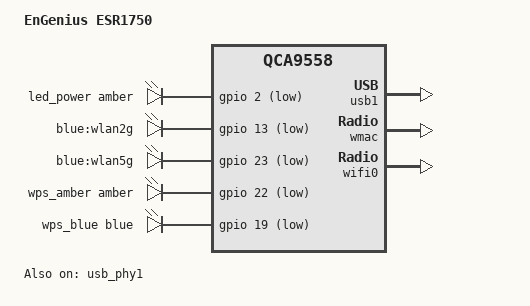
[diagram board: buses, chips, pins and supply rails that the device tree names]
// SPDX-License-Identifier: GPL-2.0-or-later OR MIT

#include <dt-bindings/leds/common.h>

#include "qca955x_senao_router-dual.dtsi"

/ {
	compatible = "engenius,esr1750", "qca,qca9558";
	model = "EnGenius ESR1750";

	aliases {
		led-boot = &led_power;
		led-failsafe = &led_power;
		led-running = &led_power;
		led-upgrade = &led_power;
	};

	leds {
		compatible = "gpio-leds";

		led_power: power {
			function = LED_FUNCTION_POWER;
			color = <LED_COLOR_ID_AMBER>;
			gpios = <&gpio 2 GPIO_ACTIVE_LOW>;
			default-state = "on";
		};

		wlan2g {
			label = "blue:wlan2g";
			gpios = <&gpio 13 GPIO_ACTIVE_LOW>;
			linux,default-trigger = "phy1tpt";
		};

		wlan5g {
			label = "blue:wlan5g";
			gpios = <&gpio 23 GPIO_ACTIVE_LOW>;
			linux,default-trigger = "phy0tpt";
		};

		wps_amber {
			function = LED_FUNCTION_WPS;
			color = <LED_COLOR_ID_AMBER>;
			gpios = <&gpio 22 GPIO_ACTIVE_LOW>;
		};

		wps_blue {
			function = LED_FUNCTION_WPS;
			color = <LED_COLOR_ID_BLUE>;
			gpios = <&gpio 19 GPIO_ACTIVE_LOW>;
		};
	};
};

&usb_phy1 {
	status = "okay";
};

&usb1 {
	status = "okay";
};

&nvmem {
	calibration_art_5000: calibration@5000 {
		reg = <0x5000 0x844>;
	};
};

&wmac {
	nvmem-cells = <&calibration_art_1000>, <&macaddr_uboot_eth 1>;
	nvmem-cell-names = "calibration", "mac-address";
};

&wifi0 {
	compatible = "qcom,ath10k";

	nvmem-cells = <&calibration_art_5000>, <&macaddr_uboot_eth 0>;
	nvmem-cell-names = "calibration", "mac-address";
};
